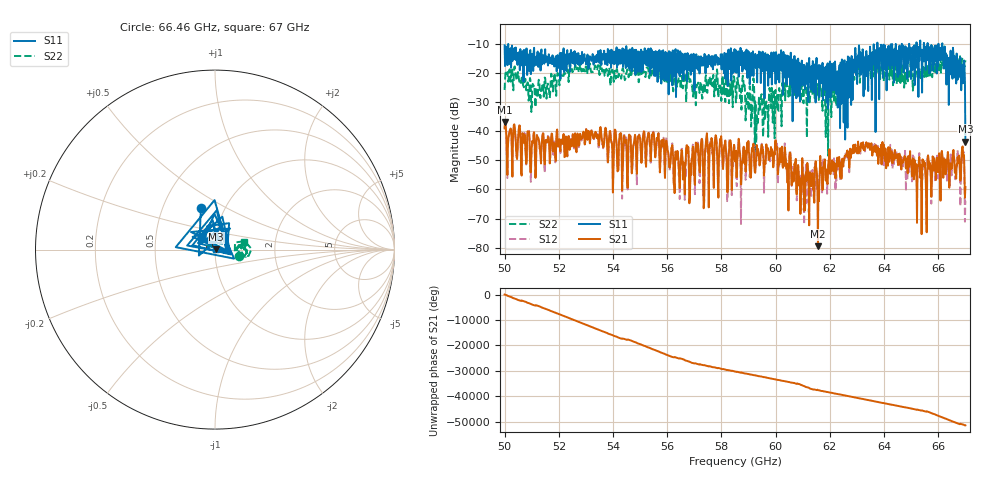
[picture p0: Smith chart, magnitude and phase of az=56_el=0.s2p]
!Created with skrf (http://scikit-rf.org).
# GHz S RI R 50.0
!freq ReS11 ImS11 ReS21 ImS21 ReS12 ImS12 ReS22 ImS22
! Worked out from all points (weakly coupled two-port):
!   1001 points, 50 GHz to 67 GHz, reference 50 ohm
!   highest |S21| = -36.73 dB at 50.02 GHz (marker M1); lowest = -79.5 dB at 61.56 GHz (marker M2)
!   lowest |S11| = -43.5 dB at 67 GHz (marker M3), VSWR 1.01, Z = 50.6 + j0.198 ohm
!   |S11| at or under -10 dB: 50.14 GHz to 63.75 GHz (13.61 GHz wide, 23.9 % of centre); 63.76 GHz to 64.3 GHz (541.4 MHz wide, 0.846 % of centre); 66.15 GHz to end of sweep (the widest 3 of 13)
!   |S22| runs from -49.6 to -13.8 dB; largest |S21 - S12| = 0.0021
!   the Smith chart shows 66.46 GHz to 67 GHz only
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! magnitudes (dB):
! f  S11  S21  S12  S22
! 50 GHz  -10.3  -39.0  -38.9  -25.7
! 50.02 GHz  -17.5  -36.7  -36.8  -21.8
! 51.07 GHz  -12.8  -40.6  -41.0  -24.5
! 52.84 GHz  -14.6  -42.2  -43.2  -19.4
! 55.68 GHz  -13.9  -40.7  -40.5  -22.3
! 56.9 GHz  -17.5  -49.4  -49.6  -24.0
! 57.21 GHz  -17.6  -54.2  -54.9  -24.9
! 58.5 GHz  -19.5  -50.3  -49.8  -24.1
! 59.13 GHz  -16.1  -45.7  -45.6  -35.3
! 59.32 GHz  -23.1  -46.9  -47.1  -35.4
! 60.34 GHz  -13.6  -45.5  -44.1  -24.8
! 61 GHz  -21.8  -54.5  -51.1  -22.5
! 61.34 GHz  -23.3  -55.0  -56.2  -24.7
! 61.56 GHz  -20.3  -79.5  -62.7  -23.6
! 61.88 GHz  -30.1  -55.3  -55.8  -23.3
! 62.56 GHz  -42.8  -48.5  -49.2  -20.0
! 62.95 GHz  -14.3  -46.8  -45.5  -18.0
! 64.18 GHz  -17.4  -48.1  -47.0  -18.5
! 65.3 GHz  -15.7  -48.8  -47.5  -20.3
! 66.08 GHz  -15.5  -63.9  -61.0  -15.3
! 66.9 GHz  -17.0  -45.2  -46.6  -15.3
! 67 GHz  -43.5  -59.1  -63.9  -15.5
